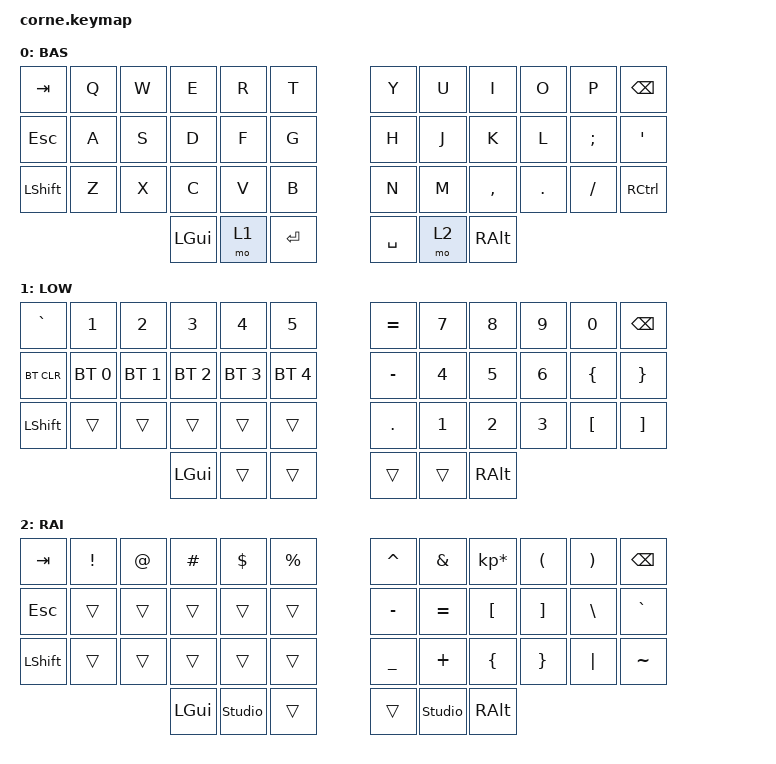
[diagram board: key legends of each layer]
/*
 * Copyright (c) 2020 The ZMK Contributors
 *
 * SPDX-License-Identifier: MIT
 */

#include <behaviors.dtsi>
#include <dt-bindings/zmk/keys.h>
#include <dt-bindings/zmk/bt.h>
#include <dt-bindings/zmk/outputs.h>
#include <dt-bindings/zmk/ext_power.h>
#include <dt-bindings/led/led.h>
#include <dt-bindings/zmk/backlight.h>
#include <dt-bindings/zmk/rgb.h>
#include <dt-bindings/zmk/reset.h>

&led_strip {
    chain-length = <27>;
};

/ {
    keymap {
        compatible = "zmk,keymap";

        default_layer {
            display-name = "BAS";
            // -----------------------------------------------------------------------------------------
            // |  TAB |  Q  |  W  |  E  |  R  |  T  |   |  Y  |  U   |  I  |  O  |  P  | BKSP |
            // | CTRL |  A  |  S  |  D  |  F  |  G  |   |  H  |  J   |  K  |  L  |  ;  |  '   |
            // | SHFT |  Z  |  X  |  C  |  V  |  B  |   |  N  |  M   |  ,  |  .  |  /  | ESC  |
            //                    | GUI | LWR | SPC |   | ENT | RSE  | ALT |

            bindings = <
&kp TAB    &kp Q  &kp W  &kp E     &kp R  &kp T        &kp Y     &kp U  &kp I      &kp O    &kp P     &kp BSPC
&kp ESC    &kp A  &kp S  &kp D     &kp F  &kp G        &kp H     &kp J  &kp K      &kp L    &kp SEMI  &kp SQT
&kp LSHFT  &kp Z  &kp X  &kp C     &kp V  &kp B        &kp N     &kp M  &kp COMMA  &kp DOT  &kp FSLH  &kp RCTRL
                         &kp LGUI  &mo 1  &kp RET      &kp SPACE &mo 2  &kp RALT
            >;
        };

        lower_layer {
            display-name = "LOW";
            // -----------------------------------------------------------------------------------------
            // |  TAB |  1  |  2  |  3  |  4  |  5  |   |  6  |  7  |  8  |  9  |  0  | BKSP |
            // | BTCLR| BT1 | BT2 | BT3 | BT4 | BT5 |   | LFT | DWN |  UP | RGT |     |      |
            // | SHFT |     |     |     |     |     |   |     |     |     |     |     |      |
            //                    | GUI |     | SPC |   | ENT |     | ALT |

            bindings = <
&kp GRAVE   &kp N1        &kp N2        &kp N3        &kp N4        &kp N5             &kp EQL   &kp N7    &kp N8    &kp N9    &kp N0     &kp BSPC
&bt BT_CLR  &bt BT_SEL 0  &bt BT_SEL 1  &bt BT_SEL 2  &bt BT_SEL 3  &bt BT_SEL 4       &kp MINUS &kp N4    &kp N5    &kp N6    &kp LBRC   &kp RBRC
&kp LSHFT   &trans        &trans        &trans        &trans        &trans             &kp DOT   &kp N1    &kp N2    &kp N3    &kp LBKT   &kp RBKT
                                        &kp LGUI      &trans        &trans             &trans    &trans    &kp RALT
            >;
        };

        raise_layer {
            display-name = "RAI";
            // -----------------------------------------------------------------------------------------
            // |  TAB |  !  |  @  |  #  |  $  |  %  |   |  ^  |  &  |  *  |  (  |  )  | BKSP |
            // | CTRL |     |     |     |     |     |   |  -  |  =  |  [  |  ]  |  \  |  `   |
            // | SHFT |     |     |     |     |     |   |  _  |  +  |  {  |  }  | "|" |  ~   |
            //                    | GUI |     | SPC |   | ENT |     | ALT |

            bindings = <
&kp TAB    &kp EXCL  &kp AT  &kp HASH   &kp DLLR          &kp PRCNT               &kp CARET  &kp AMPS           &kp KP_MULTIPLY  &kp LPAR  &kp RPAR  &kp BSPC
&kp ESC    &trans    &trans  &trans     &trans            &trans                  &kp MINUS  &kp EQUAL          &kp LBKT         &kp RBKT  &kp BSLH  &kp GRAVE
&kp LSHFT  &trans    &trans  &trans     &trans            &trans                  &kp UNDER  &kp PLUS           &kp LBRC         &kp RBRC  &kp PIPE  &kp TILDE
                             &kp LGUI   &studio_unlock    &trans                  &trans    &studio_unlock     &kp RALT
            >;
        };
        extra_1 {
            status = "reserved";
        };

        extra_2 {
            status = "reserved";
        };

        extra_3 {
            status = "reserved";
        };
    };
};
